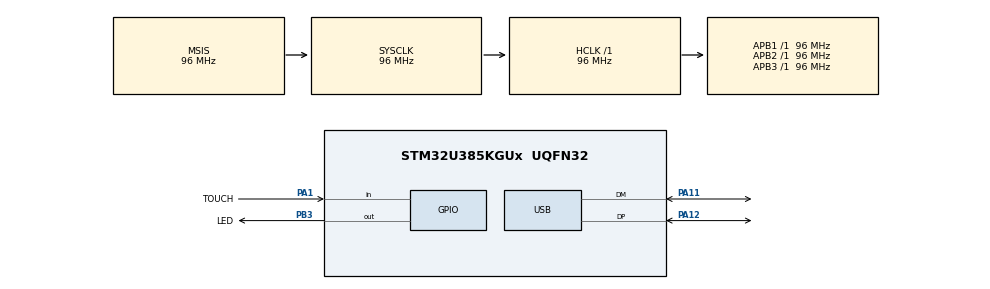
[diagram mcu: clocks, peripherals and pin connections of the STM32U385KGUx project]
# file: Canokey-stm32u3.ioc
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CORTEX_M33_NS.userName=CORTEX_M33
Mcu.Family=STM32U3
Mcu.Name=STM32U385KGUx
Mcu.Package=UQFN32
NVIC.PriorityGroup=NVIC_PRIORITYGROUP_4
NVIC.USB_FS_IRQn=true\:1\:0\:true\:false\:true\:true\:false\:true
PA1.GPIO_Label=TOUCH
PA1.GPIO_PuPd=GPIO_PULLUP
PA1.Signal=GPIO_Input
PA11.Mode=Device
PA11.Signal=USB_DM
PA12.Mode=Device
PA12.Signal=USB_DP
PA13\ (JTMS/SWDIO).Mode=Serial_Wire
PA13\ (JTMS/SWDIO).Signal=DEBUG_JTMS-SWDIO
PA14\ (JTCK/SWCLK).Mode=Serial_Wire
PA14\ (JTCK/SWCLK).Signal=DEBUG_JTCK-SWCLK
PB3\ (JTDO/TRACESWO).GPIO_Label=LED
PB3\ (JTDO/TRACESWO).Signal=GPIO_Output
ProjectManager.HeapSize=0x200
ProjectManager.StackSize=0x400
ProjectManager.TargetToolchain=STM32CubeIDE
RCC.ADCFreq_Value=96000000
RCC.AHBFreq_Value=96000000
RCC.APB1Freq_Value=96000000
RCC.APB1TimFreq_Value=96000000
RCC.APB2Freq_Value=96000000
RCC.APB2TimFreq_Value=96000000
RCC.APB3Freq_Value=96000000
RCC.CortexFreq_Value=12000000
RCC.HCLKFreq_Value=96000000
RCC.HSE_VALUE=16000000
RCC.HSI48_VALUE=48000000
RCC.HSI_VALUE=16000000
RCC.LSE_VALUE=32768
RCC.LSIDIV_VALUE=32000
RCC.MSISDIV=RCC_MSI_DIV1
RCC.SYSCLKFreq_VALUE=96000000
RCC.USBFreq_Value=48000000
RCC.USB_DIV=RCC_USB1CLKSOURCE_ICLK_DIV2
USB.VirtualMode=Device_Only
VP_AES_VS_AES.Mode=AES_Activate
VP_HASH_VS_HASH.Mode=HASH_Activate
VP_ICACHE_VS_ICACHE.Mode=DirectMappedCache
VP_MEMORYMAP_VS_MEMORYMAP.Mode=CurAppReg
VP_PKA_VS_PKA.Mode=PKA_Activate
VP_PWR_VS_DBSignals.Mode=DisableDeadBatterySignals
VP_PWR_VS_LPOM.Mode=PowerOptimisation
VP_PWR_VS_SECSignals.Mode=Security/Privilege
VP_RNG_VS_RNG.Mode=RNG_Activate
VP_TIM6_VS_ClockSourceINT.Mode=Enable_Timer
board=custom

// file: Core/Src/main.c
/* USER CODE BEGIN Header */
/**
  ******************************************************************************
  * @file           : main.c
  * @brief          : Main program body
  ******************************************************************************
  * @attention
  *
  * Copyright (c) 2025 STMicroelectronics.
  * All rights reserved.
  *
  * This software is licensed under terms that can be found in the LICENSE file
  * in the root directory of this software component.
  * If no LICENSE file comes with this software, it is provided AS-IS.
  *
  ******************************************************************************
  */
/* USER CODE END Header */
#include "main.h"

/* USER CODE BEGIN Includes */
#include "lfs_init.h"
#include <apdu.h>
#include <applets.h>
#include <ccid.h>
#include <device.h>
#include <nfc.h>
#include <usb_device.h>
#include "crypto-util.h"
/* USER CODE END Includes */

CRYP_HandleTypeDef hcryp;
__ALIGN_BEGIN static const uint32_t pKeyAES[4] __ALIGN_END = {
                            0x00000000,0x00000000,0x00000000,0x00000000};

HASH_HandleTypeDef hhash;

PKA_HandleTypeDef hpka;

RNG_HandleTypeDef hrng;

TIM_HandleTypeDef htim6;

PCD_HandleTypeDef hpcd_USB_DRD_FS;

void SystemClock_Config(void);
static void MX_GPIO_Init(void);
static void MX_ICACHE_Init(void);
static void MX_USB_PCD_Init(void);
static void MX_TIM6_Init(void);
static void MX_AES_Init(void);
static void MX_HASH_Init(void);
static void MX_RNG_Init(void);
static void MX_PKA_Init(void);

/* USER CODE BEGIN 0 */

uint8_t detect_usb(void) {
  GPIO_InitTypeDef GPIO_InitStruct = {0};
  GPIO_InitStruct.Pin = GPIO_PIN_12; // USB_DP
  GPIO_InitStruct.Mode = GPIO_MODE_INPUT;
  GPIO_InitStruct.Pull = GPIO_PULLUP;
  HAL_GPIO_Init(GPIOA, &GPIO_InitStruct);

  if (HAL_GPIO_ReadPin(GPIOA, GPIO_PIN_12) == 0) return 1;

  GPIO_InitStruct.Mode = GPIO_MODE_ANALOG;
  GPIO_InitStruct.Pull = GPIO_NOPULL;
  HAL_GPIO_Init(GPIOA, &GPIO_InitStruct);
  return 0;
}

static void config_usb_mode(void) {
  DBG_MSG("Init USB\n");
  // SystemClock_CustomConfig(false, true);
  // // reconfig peripheral clock dividers
  // LL_SPI_SetBaudRatePrescaler(hspi1.Instance, LL_SPI_BAUDRATEPRESCALER_DIV8);
  // MX_USART2_UART_Init();
  // /* Enable USB power on Pwrctrl CR2 register. */
  // HAL_PWREx_EnableVddUSB();
  // /* Peripheral clock enable */
  // __HAL_RCC_USB_CLK_ENABLE();
  // /* Peripheral interrupt init */
  // HAL_NVIC_SetPriority(USB_IRQn, 1, 0);
  MX_USB_PCD_Init();
  usb_device_init();
}

int check_is_nfc_en(void) {
  return 1;
}
/* USER CODE END 0 */

int main(void)
{

  /* MCU Configuration--------------------------------------------------------*/

  /* Reset of all peripherals, Initializes the Flash interface and the Systick. */
  HAL_Init();

  /* Configure the system clock */
  SystemClock_Config();

  /* Initialize all configured peripherals */
  MX_GPIO_Init();
  MX_ICACHE_Init();
  MX_USB_PCD_Init();
  MX_TIM6_Init();
  MX_AES_Init();
  MX_HASH_Init();
  MX_RNG_Init();
  MX_PKA_Init();
  /* USER CODE BEGIN 2 */
  canokey_rng_init();
  uint8_t in_nfc_mode = check_is_nfc_en(); // boot in NFC mode by default
  nfc_init();
  set_nfc_state(in_nfc_mode);

  DBG_MSG("Init FS\n");
  littlefs_init();

  DBG_MSG("Init applets\n");
  applets_install();
  init_apdu_buffer();

  if (!in_nfc_mode) {
    while (!detect_usb());
    config_usb_mode();
  }
  DBG_MSG("Main Loop\n");
  /* USER CODE END 2 */

  /* Infinite loop */
  while (1)
  {

    /* USER CODE BEGIN 3 */
    /* USER CODE END WHILE */
    /* USER CODE BEGIN 3 */
    if (in_nfc_mode) {
      nfc_loop();
      if (detect_usb()) { // USB plug-in
        config_usb_mode();
        in_nfc_mode = 0;
        set_nfc_state(in_nfc_mode); // comment out this line to emulate NFC mode with USB connection
      }
    } else {
      device_loop();
    }
  }
  /* USER CODE END 3 */
}

void SystemClock_Config(void)
{
  RCC_OscInitTypeDef RCC_OscInitStruct = {0};
  RCC_ClkInitTypeDef RCC_ClkInitStruct = {0};

  /** Enable Epod Booster
  */
  if (HAL_RCCEx_EpodBoosterClkConfig(RCC_EPODBOOSTER_SOURCE_MSIS, RCC_EPODBOOSTER_DIV1) != HAL_OK)
  {
    Error_Handler();
  }
  if (HAL_PWREx_EnableEpodBooster() != HAL_OK)
  {
    Error_Handler();
  }

  /** Configure the main internal regulator output voltage
  */
  if (HAL_PWREx_ControlVoltageScaling(PWR_REGULATOR_VOLTAGE_SCALE1) != HAL_OK)
  {
    Error_Handler();
  }

  /** Set Flash latency before increasing MSIS
  */
  __HAL_FLASH_SET_LATENCY(FLASH_LATENCY_2);

  /** Initializes the CPU, AHB and APB buses clocks
  */
  RCC_OscInitStruct.OscillatorType = RCC_OSCILLATORTYPE_HSI48|RCC_OSCILLATORTYPE_MSIS;
  RCC_OscInitStruct.HSI48State = RCC_HSI48_ON;
  RCC_OscInitStruct.MSISState = RCC_MSI_ON;
  RCC_OscInitStruct.MSISSource = RCC_MSI_RC0;
  RCC_OscInitStruct.MSISDiv = RCC_MSI_DIV1;
  if (HAL_RCC_OscConfig(&RCC_OscInitStruct) != HAL_OK)
  {
    Error_Handler();
  }

  /** Initializes the CPU, AHB and APB buses clocks
  */
  RCC_ClkInitStruct.ClockType = RCC_CLOCKTYPE_HCLK|RCC_CLOCKTYPE_SYSCLK
                              |RCC_CLOCKTYPE_PCLK1|RCC_CLOCKTYPE_PCLK2
                              |RCC_CLOCKTYPE_PCLK3;
  RCC_ClkInitStruct.SYSCLKSource = RCC_SYSCLKSOURCE_MSIS;
  RCC_ClkInitStruct.AHBCLKDivider = RCC_SYSCLK_DIV1;
  RCC_ClkInitStruct.APB1CLKDivider = RCC_HCLK_DIV1;
  RCC_ClkInitStruct.APB2CLKDivider = RCC_HCLK_DIV1;
  RCC_ClkInitStruct.APB3CLKDivider = RCC_HCLK_DIV1;

  if (HAL_RCC_ClockConfig(&RCC_ClkInitStruct, FLASH_LATENCY_2) != HAL_OK)
  {
    Error_Handler();
  }
}

static void MX_AES_Init(void)
{

  hcryp.Instance = AES;
  hcryp.Init.DataType = CRYP_NO_SWAP;
  hcryp.Init.KeySize = CRYP_KEYSIZE_128B;
  hcryp.Init.pKey = (uint32_t *)pKeyAES;
  hcryp.Init.Algorithm = CRYP_AES_ECB;
  hcryp.Init.DataWidthUnit = CRYP_DATAWIDTHUNIT_WORD;
  hcryp.Init.HeaderWidthUnit = CRYP_HEADERWIDTHUNIT_WORD;
  hcryp.Init.KeyIVConfigSkip = CRYP_KEYIVCONFIG_ALWAYS;
  hcryp.Init.KeyMode = CRYP_KEYMODE_NORMAL;
  if (HAL_CRYP_Init(&hcryp) != HAL_OK)
  {
    Error_Handler();
  }

}

static void MX_HASH_Init(void)
{

  hhash.Instance = HASH;
  hhash.Init.DataType = HASH_NO_SWAP;
  hhash.Init.Algorithm = HASH_ALGOSELECTION_SHA1;
  if (HAL_HASH_Init(&hhash) != HAL_OK)
  {
    Error_Handler();
  }

}

static void MX_ICACHE_Init(void)
{

  /** Enable instruction cache in 1-way (direct mapped cache)
  */
  if (HAL_ICACHE_ConfigAssociativityMode(ICACHE_1WAY) != HAL_OK)
  {
    Error_Handler();
  }
  if (HAL_ICACHE_Enable() != HAL_OK)
  {
    Error_Handler();
  }

}

static void MX_PKA_Init(void)
{

  hpka.Instance = PKA;
  if (HAL_PKA_Init(&hpka) != HAL_OK)
  {
    Error_Handler();
  }

}

static void MX_RNG_Init(void)
{

  hrng.Instance = RNG;
  hrng.Init.ClockErrorDetection = RNG_CED_ENABLE;
  if (HAL_RNG_Init(&hrng) != HAL_OK)
  {
    Error_Handler();
  }

}

static void MX_TIM6_Init(void)
{

  TIM_MasterConfigTypeDef sMasterConfig = {0};

  htim6.Instance = TIM6;
  htim6.Init.Prescaler = 0;
  htim6.Init.CounterMode = TIM_COUNTERMODE_UP;
  htim6.Init.Period = 65535;
  htim6.Init.AutoReloadPreload = TIM_AUTORELOAD_PRELOAD_DISABLE;
  if (HAL_TIM_Base_Init(&htim6) != HAL_OK)
  {
    Error_Handler();
  }
  sMasterConfig.MasterOutputTrigger = TIM_TRGO_RESET;
  sMasterConfig.MasterSlaveMode = TIM_MASTERSLAVEMODE_DISABLE;
  if (HAL_TIMEx_MasterConfigSynchronization(&htim6, &sMasterConfig) != HAL_OK)
  {
    Error_Handler();
  }

}

static void MX_USB_PCD_Init(void)
{

  hpcd_USB_DRD_FS.Instance = USB_DRD_FS;
  hpcd_USB_DRD_FS.Init.dev_endpoints = 8;
  hpcd_USB_DRD_FS.Init.speed = USBD_FS_SPEED;
  hpcd_USB_DRD_FS.Init.phy_itface = PCD_PHY_EMBEDDED;
  hpcd_USB_DRD_FS.Init.Sof_enable = DISABLE;
  hpcd_USB_DRD_FS.Init.low_power_enable = DISABLE;
  hpcd_USB_DRD_FS.Init.lpm_enable = DISABLE;
  hpcd_USB_DRD_FS.Init.battery_charging_enable = DISABLE;
  hpcd_USB_DRD_FS.Init.vbus_sensing_enable = DISABLE;
  hpcd_USB_DRD_FS.Init.bulk_doublebuffer_enable = DISABLE;
  hpcd_USB_DRD_FS.Init.iso_singlebuffer_enable = DISABLE;
  if (HAL_PCD_Init(&hpcd_USB_DRD_FS) != HAL_OK)
  {
    Error_Handler();
  }
  /* USER CODE BEGIN USB_Init 2 */
  hpcd_USB_DRD_FS.Instance = USB_DRD_FS;
  HAL_PCD_MspInit(&hpcd_USB_DRD_FS);
  /* USER CODE END USB_Init 2 */

}

static void MX_GPIO_Init(void)
{
  GPIO_InitTypeDef GPIO_InitStruct = {0};

  /* GPIO Ports Clock Enable */
  __HAL_RCC_GPIOA_CLK_ENABLE();
  __HAL_RCC_GPIOB_CLK_ENABLE();

  /*Configure GPIO pin Output Level */
  HAL_GPIO_WritePin(LED_GPIO_Port, LED_Pin, GPIO_PIN_RESET);

  /*Configure GPIO pin : TOUCH_Pin */
  GPIO_InitStruct.Pin = TOUCH_Pin;
  GPIO_InitStruct.Mode = GPIO_MODE_INPUT;
  GPIO_InitStruct.Pull = GPIO_PULLUP;
  HAL_GPIO_Init(TOUCH_GPIO_Port, &GPIO_InitStruct);

  /*Configure GPIO pin : LED_Pin */
  GPIO_InitStruct.Pin = LED_Pin;
  GPIO_InitStruct.Mode = GPIO_MODE_OUTPUT_PP;
  GPIO_InitStruct.Pull = GPIO_NOPULL;
  GPIO_InitStruct.Speed = GPIO_SPEED_FREQ_LOW;
  HAL_GPIO_Init(LED_GPIO_Port, &GPIO_InitStruct);

}

void Error_Handler(void)
{
  __disable_irq();
  while (1)
  {
  }
}
